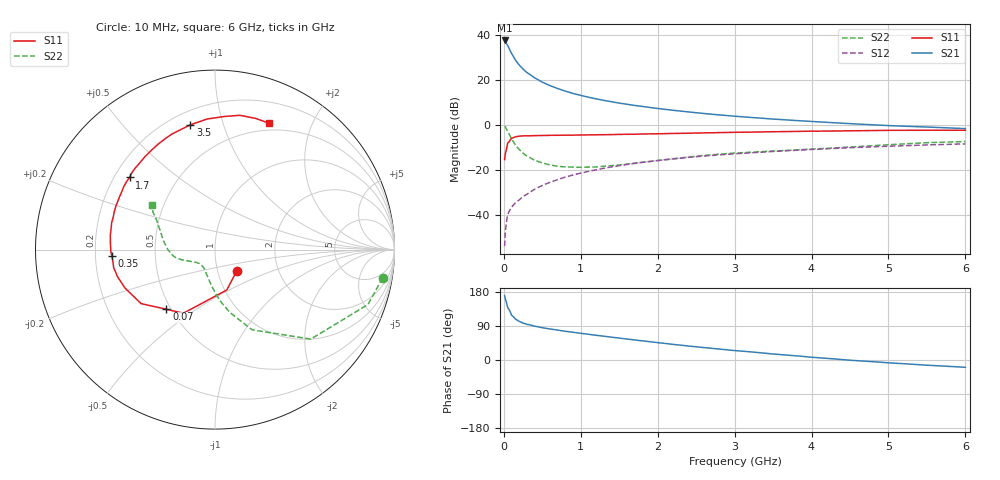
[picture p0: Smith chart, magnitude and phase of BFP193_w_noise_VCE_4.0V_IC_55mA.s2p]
! Infineon Technologies  Discrete & RF Semiconductors
! BFP193
! VCE =  4.0 V,  IC =  55 mA
! Common Emitter S-Parameters:  Jan 2017
# GHz  S  MA  R  50
!  f  S11  S21  S12  S22
! GHz  MAG  ANG  MAG  ANG  MAG  ANG  MAG  ANG
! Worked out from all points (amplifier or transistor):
!   77 points, 10 MHz to 6 GHz, reference 50 ohm
!   highest |S21| = 37.7 dB at 10 MHz (marker M1)
!   |S21| within 3 dB of that: start of sweep to 60.89 MHz
!   unconditionally stable (mu >= 1): 536.9 MHz to 2.368 GHz
!   at 130 MHz: K = 0.65, MSG = 32.8 dB, |S12| = -35.4 dB
!   at 2.2 GHz: K = 1.01, MAG = 10.3 dB, |S12| = -15.1 dB
!   at 6 GHz: K = 0.93, MSG = 3.4 dB, |S12| = -8.4 dB
!   lowest NFmin = 1.60 dB at 450 MHz
!   S11 on the Smith chart (normalised r, x): 10 MHz: 1.23, -0.31; 70 MHz: 0.47, -0.39; 350 MHz: 0.27, -0.03; 1.7 GHz: 0.26, +0.34; 3.5 GHz: 0.28, +0.78; 6 GHz: 0.42, +1.43
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0.01  0.1702 -45.0  76.48 169.9  0.002 83.9  0.9471 -9.6
0.02  0.2344 -73.7  74.13 160.8  0.0043 78.2  0.9057 -19.7
0.05  0.3954 -116.4  58.91 138.4  0.0101 63.2  0.7303 -43.1
0.07  0.4287 -129.1  50.31 132.2  0.0119 62.5  0.625 -49.9
0.1  0.5102 -143.9  39.1 118.2  0.0147 61.8  0.4921 -65.2
0.15  0.5456 -157.0  28.05 108.1  0.0184 60.5  0.3584 -76.9
0.2  0.5635 -164.4  21.69 101.9  0.0215 65.1  0.2842 -84.7
0.25  0.5734 -169.9  17.59 97.4  0.0256 64.3  0.2358 -90.2
0.3  0.5727 -173.4  14.77 94.3  0.0287 66.1  0.2029 -95.4
0.35  0.5759 -176.4  12.98 92.1  0.0328 67.3  0.1832 -98.8
0.4  0.5807 -179.3  11.23 89.2  0.037 68.3  0.1643 -103.1
0.5  0.5844 176.0  9.012 85.2  0.0451 69.1  0.1428 -109.7
0.6  0.5887 172.1  7.552 81.9  0.0529 69.2  0.1291 -115.7
0.8  0.5949 165.6  5.686 75.8  0.0693 69.5  0.1167 -124.8
1.1  0.6029 156.4  4.164 67.9  0.0928 66.7  0.1154 -135.5
1.7  0.6231 139.8  2.733 52.9  0.1397 59.6  0.1415 -150.9
2.1  0.6426 129.5  2.229 43.6  0.1687 54.5  0.1691 -158.6
3.1  0.6906 108.3  1.525 23.3  0.2338 41.4  0.242 -173.8
3.5  0.7091 101.1  1.357 15.8  0.2572 36.9  0.2632 179.9
4.1  0.7309 91.9  1.173 5.9  0.2904 29.5  0.2962 168.5
5.1  0.7609 78.2  0.956 -8.6  0.3407 17.9  0.3708 152.5
6  0.7658 67.0  0.832 -19.3  0.3802 7.9  0.4279 144.9
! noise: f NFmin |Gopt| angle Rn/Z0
0.45  1.6  0.45  -170  0.09
0.9  1.65  0.47  -163  0.09
1.9  2.29  0.62  -131  0.25
2.4  2.64  0.64  -118  0.51
